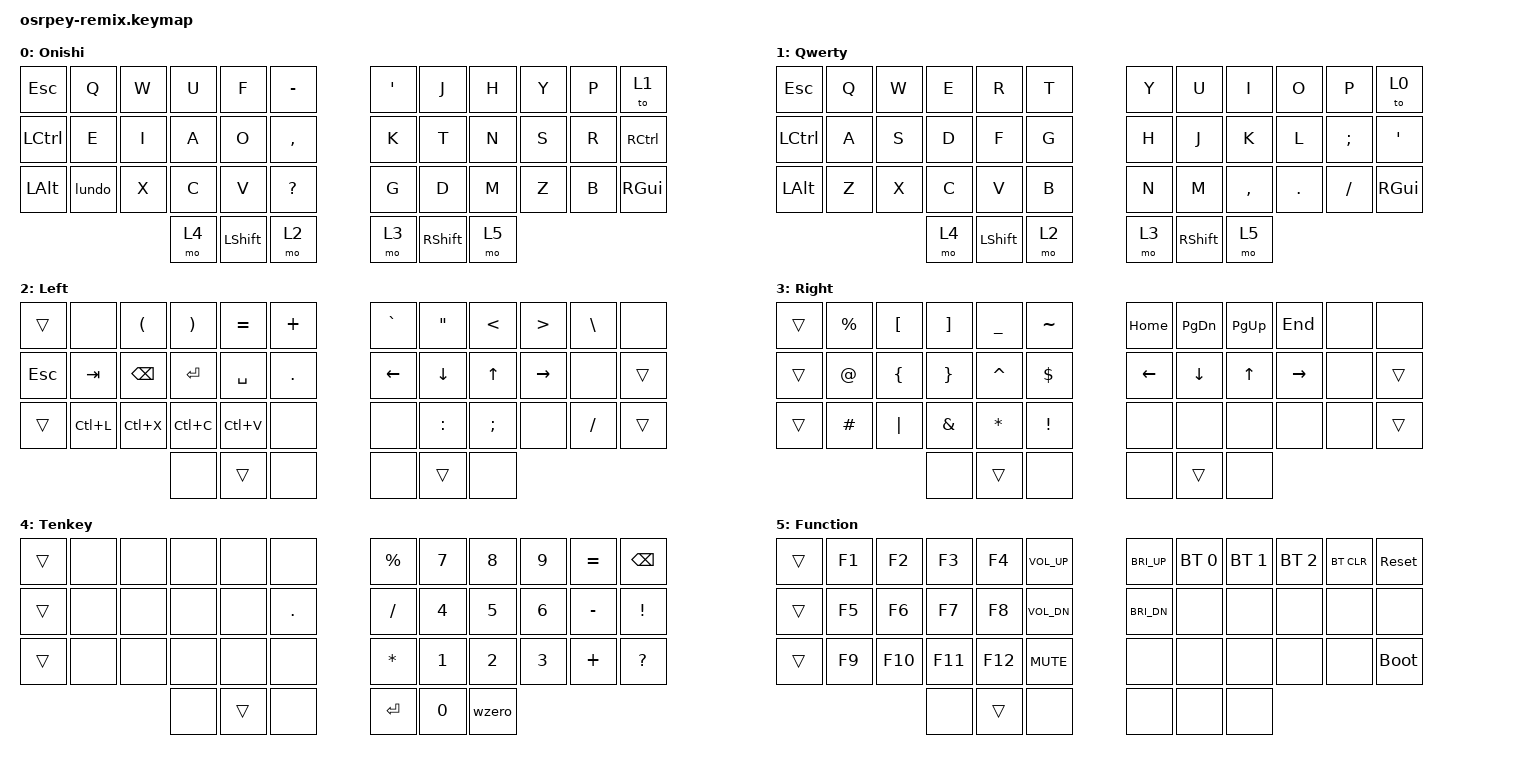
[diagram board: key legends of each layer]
#include <behaviors.dtsi>
#include <dt-bindings/zmk/bt.h>
#include <dt-bindings/zmk/keys.h>

&lt {
    flavor = "hold-preferred";
};

/ {
    combos {
        compatible = "zmk,combos";

        ime_off {
            bindings = <&kp LANG2>;
            key-positions = <15 16>;
        };

        ime_on {
            bindings = <&kp LANG1>;
            key-positions = <19 20>;
        };
    };

    macros {
        wzero: wzero {
            compatible = "zmk,behavior-macro";
            #binding-cells = <0>;
            bindings = <&macro_tap &kp N0 &kp N0>;
        };
    };
    
    behaviors {
        lundo: l_undo {
            compatible = "zmk,behavior-mod-morph";
            #binding-cells = <0>;
            bindings = <&kp L>, <&kp LC(Z)>;
            mods = <(MOD_LCTL|MOD_RCTL)>;
        };
    };

    keymap {
        compatible = "zmk,keymap";
        
        default_layer {

            display-name = "Onishi";

            bindings = <
&kp ESC   &kp Q  &kp W &kp U &kp F     &kp MINUS &kp SQT &kp J     &kp H &kp Y &kp P &to 1
&kp LCTRL &kp E  &kp I &kp A &kp O     &kp COMMA &kp K   &kp T     &kp N &kp S &kp R &kp RCTRL 
&kp LALT  &lundo &kp X &kp C &kp V     &kp QMARK &kp G   &kp D     &kp M &kp Z &kp B &kp RGUI
                       &mo 4 &kp LSHFT &mo 2     &mo 3   &kp RSHFT &mo 5
            >;
        };

        qwerty_layer {

            display-name = "Qwerty";

            bindings = <
&kp ESC   &kp Q &kp W &kp E &kp R     &kp T &kp Y &kp U     &kp I     &kp O   &kp P    &to 0
&kp LCTRL &kp A &kp S &kp D &kp F     &kp G &kp H &kp J     &kp K     &kp L   &kp SEMI &kp SQT 
&kp LALT  &kp Z &kp X &kp C &kp V     &kp B &kp N &kp M     &kp COMMA &kp DOT &kp FSLH &kp RGUI
                      &mo 4 &kp LSHFT &mo 2 &mo 3 &kp RSHFT &mo 5
            >;
        };

        left_layer {
            display-name = "Left";

            bindings = <
&trans  &none     &kp LPAR  &kp RPAR  &kp EQUAL  &kp PLUS    &kp GRAVE &kp DQT   &kp LT   &kp GT    &kp BSLH  &none
&kp ESC &kp TAB   &kp BSPC  &kp ENTER &kp SPACE  &kp DOT     &kp LEFT  &kp DOWN  &kp UP   &kp RIGHT &none     &trans
&trans  &kp LC(L) &kp LC(X) &kp LC(C) &kp LC(V)  &none       &none     &kp COLON &kp SEMI &none     &kp FSLH  &trans
                            &none     &trans     &none       &none     &trans     &none
            >;
        };

        right_layer {
            display-name = "Right";

            bindings = <
&trans &kp PRCNT &kp LBKT &kp RBKT &kp UNDER &kp TILDE    &kp HOME &kp PG_DN &kp PG_UP &kp END   &none &none 
&trans &kp AT    &kp LBRC &kp RBRC &kp CARET &kp DLLR     &kp LEFT &kp DOWN  &kp UP    &kp RIGHT &none &trans
&trans &kp HASH  &kp PIPE &kp AMPS &kp STAR  &kp EXCL     &none    &none     &none     &none     &none &trans
                          &none    &trans    &none        &none    &trans    &none
            >;
        };

        tenkey_layer {
            display-name = "Tenkey";

            bindings = <
&trans &none &none &none &none  &none    &kp PRCNT &kp N7 &kp N8 &kp N9 &kp EQUAL &kp BSPC
&trans &none &none &none &none  &kp DOT  &kp FSLH  &kp N4 &kp N5 &kp N6 &kp MINUS &kp EXCL
&trans &none &none &none &none  &none    &kp STAR  &kp N1 &kp N2 &kp N3 &kp PLUS  &kp QMARK
                   &none &trans &none    &kp ENTER &kp N0 &wzero
            >;
        };

        func_layer {
            display-name = "Function";

            bindings = <
&trans &kp F1 &kp F2  &kp F3  &kp F4  &kp C_VOL_UP &kp C_BRI_UP &bt BT_SEL 0 &bt BT_SEL 1 &bt BT_SEL 2 &bt BT_CLR &sys_reset
&trans &kp F5 &kp F6  &kp F7  &kp F8  &kp C_VOL_DN &kp C_BRI_DN &none        &none        &none        &none      &none
&trans &kp F9 &kp F10 &kp F11 &kp F12 &kp C_MUTE   &none        &none        &none        &none        &none      &bootloader
                      &none   &trans  &none        &none        &none        &none
            >;
        };
    };
};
